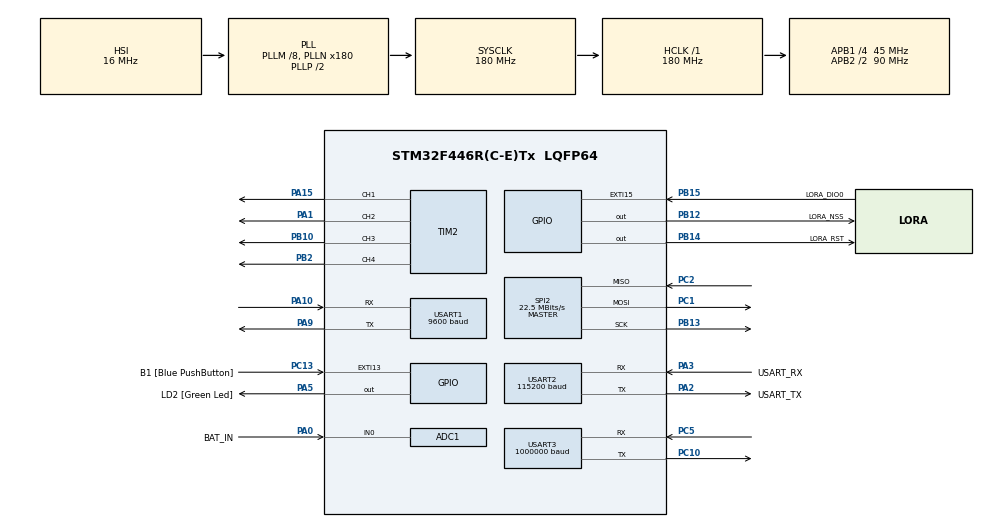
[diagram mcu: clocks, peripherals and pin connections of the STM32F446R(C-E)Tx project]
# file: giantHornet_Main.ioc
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ADC1.Channel-0\#ChannelRegularConversion=ADC_CHANNEL_0
ADC1.NbrOfConversionFlag=1
ADC1.Rank-0\#ChannelRegularConversion=1
ADC1.SamplingTime-0\#ChannelRegularConversion=ADC_SAMPLETIME_3CYCLES
ADC1.master=1
Mcu.Family=STM32F4
Mcu.Name=STM32F446R(C-E)Tx
Mcu.Package=LQFP64
NVIC.PriorityGroup=NVIC_PRIORITYGROUP_0
NVIC.USART1_IRQn=true\:0\:0\:false\:false\:true\:true\:true\:true
NVIC.USART2_IRQn=true\:0\:0\:false\:false\:true\:true\:true\:true
NVIC.USART3_IRQn=true\:0\:0\:false\:false\:true\:true\:true\:true
PA0-WKUP.GPIO_Label=BAT_IN
PA0-WKUP.Signal=ADCx_IN0
PA1.Signal=S_TIM2_CH2
PA10.Mode=Asynchronous
PA10.Signal=USART1_RX
PA13.GPIO_Label=TMS
PA13.Mode=Serial_Wire
PA13.Signal=SYS_JTMS-SWDIO
PA14.GPIO_Label=TCK
PA14.Mode=Serial_Wire
PA14.Signal=SYS_JTCK-SWCLK
PA15.Signal=S_TIM2_CH1_ETR
PA2.GPIO_Label=USART_TX
PA2.Mode=Asynchronous
PA2.Signal=USART2_TX
PA3.GPIO_Label=USART_RX
PA3.Mode=Asynchronous
PA3.Signal=USART2_RX
PA5.GPIO_Label=LD2 [Green Led]
PA5.Signal=GPIO_Output
PA9.Mode=Asynchronous
PA9.Signal=USART1_TX
PB10.Signal=S_TIM2_CH3
PB12.GPIO_Label=LORA_NSS
PB12.Signal=GPIO_Output
PB13.Mode=Full_Duplex_Master
PB13.Signal=SPI2_SCK
PB14.GPIO_Label=LORA_RST
PB14.Signal=GPIO_Output
PB15.GPIO_Label=LORA_DIO0
PB15.Signal=GPXTI15
PB2.Signal=S_TIM2_CH4
PB3.GPIO_Label=SWO
PB3.Signal=SYS_JTDO-SWO
PC1.Mode=Full_Duplex_Master
PC1.Signal=SPI2_MOSI
PC10.Mode=Asynchronous
PC10.Signal=USART3_TX
PC13.GPIO_Label=B1 [Blue PushButton]
PC13.GPIO_ModeDefaultEXTI=GPIO_MODE_IT_FALLING
PC13.Signal=GPXTI13
PC14-OSC32_IN.Mode=LSE-External-Oscillator
PC14-OSC32_IN.Signal=RCC_OSC32_IN
PC15-OSC32_OUT.Mode=LSE-External-Oscillator
PC15-OSC32_OUT.Signal=RCC_OSC32_OUT
PC2.Mode=Full_Duplex_Master
PC2.Signal=SPI2_MISO
PC5.Mode=Asynchronous
PC5.Signal=USART3_RX
PH0-OSC_IN.Mode=HSE-External-Oscillator
PH0-OSC_IN.Signal=RCC_OSC_IN
PH1-OSC_OUT.Mode=HSE-External-Oscillator
PH1-OSC_OUT.Signal=RCC_OSC_OUT
ProjectManager.HeapSize=0x200
ProjectManager.StackSize=0x400
ProjectManager.TargetToolchain=STM32CubeIDE
RCC.48MHZClocksFreq_Value=84000000
RCC.AHBFreq_Value=180000000
RCC.APB1CLKDivider=RCC_HCLK_DIV4
RCC.APB1Freq_Value=45000000
RCC.APB1TimFreq_Value=90000000
RCC.APB2CLKDivider=RCC_HCLK_DIV2
RCC.APB2Freq_Value=90000000
RCC.APB2TimFreq_Value=180000000
RCC.CortexFreq_Value=180000000
RCC.FLatency-AdvancedSettings=FLASH_LATENCY_5
RCC.HCLKFreq_Value=180000000
RCC.HSE_VALUE=8000000
RCC.HSI_VALUE=16000000
RCC.PLLM=8
RCC.PLLN=180
RCC.SYSCLKFreq_VALUE=180000000
RCC.SYSCLKSource=RCC_SYSCLKSOURCE_PLLCLK
RCC.USBFreq_Value=180000000
RCC.VCOOutputFreq_Value=360000000
SH.ADCx_IN0.0=ADC1_IN0,IN0
SH.S_TIM2_CH1_ETR.0=TIM2_CH1,PWM Generation1 CH1
SH.S_TIM2_CH2.0=TIM2_CH2,PWM Generation2 CH2
SH.S_TIM2_CH3.0=TIM2_CH3,PWM Generation3 CH3
SH.S_TIM2_CH4.0=TIM2_CH4,PWM Generation4 CH4
SPI2.CalculateBaudRate=22.5 MBits/s
SPI2.Direction=SPI_DIRECTION_2LINES
SPI2.Mode=SPI_MODE_MASTER
SPI2.VirtualType=VM_MASTER
TIM2.Channel-PWM\ Generation1\ CH1=TIM_CHANNEL_1
TIM2.Channel-PWM\ Generation2\ CH2=TIM_CHANNEL_2
TIM2.Channel-PWM\ Generation3\ CH3=TIM_CHANNEL_3
TIM2.Channel-PWM\ Generation4\ CH4=TIM_CHANNEL_4
USART1.BaudRate=9600
USART1.VirtualMode=VM_ASYNC
USART2.BaudRate=115200
USART2.VirtualMode=VM_ASYNC
USART3.BaudRate=1000000
USART3.VirtualMode=VM_ASYNC
board=NUCLEO-F446RE

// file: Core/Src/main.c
/* USER CODE BEGIN Header */
/**
  ******************************************************************************
  * @file           : main.c
  * @brief          : Main program body
  ******************************************************************************
  * @attention
  *
  * Copyright (c) 2025 STMicroelectronics.
  * All rights reserved.
  *
  * This software is licensed under terms that can be found in the LICENSE file
  * in the root directory of this software component.
  * If no LICENSE file comes with this software, it is provided AS-IS.
  *
  ******************************************************************************
  */
/* USER CODE END Header */
#include "main.h"
#include "adc.h"
#include "spi.h"
#include "tim.h"
#include "usart.h"
#include "gpio.h"

/* USER CODE BEGIN Includes */
#include "define.h"
#include "protocol.h"
#include "hardware_gps.h"
#include "function_bridge_main.h"
#include "function_controller.h"
#include "function_motor_control.h"
#include "usart.h"

/* USER CODE END Includes */

/* USER CODE BEGIN PD */
#define RX_BUFFER_SIZE  256
/* USER CODE END PD */

/* USER CODE BEGIN PV */
uint32_t led_time;
uint32_t gps_time;
uint32_t esc_time;

/* USER CODE END PV */

void SystemClock_Config(void);

/* USER CODE BEGIN 0 */
//* @brief  Retargets the C library printf function to the USART.
int _write(int fd, char *ptr, int len)
{
  HAL_UART_Transmit(&huart2, (const uint8_t *)ptr, len, 100);
  return len;
}

/* USER CODE END 0 */

int main(void)
{

  /* USER CODE BEGIN 1 */
  USER_StatusTypeDef ret;
  /* USER CODE END 1 */

  /* MCU Configuration--------------------------------------------------------*/

  /* Reset of all peripherals, Initializes the Flash interface and the Systick. */
  HAL_Init();

  /* Configure the system clock */
  SystemClock_Config();

  /* Initialize all configured peripherals */
  MX_GPIO_Init();
  MX_USART2_UART_Init();
  MX_ADC1_Init();
  MX_SPI2_Init();
  MX_TIM2_Init();
  MX_USART1_UART_Init();
  MX_USART3_UART_Init();
  /* USER CODE BEGIN 2 */
  GPS_Init(&huart1);
  ret = bridge_init();

  if(ret == USER_RET_OK) {
    printf("init seq ok!\n");
  } else {
    printf("init seq error! %d\n", ret);
    Error_Handler();
  }
  /* USER CODE END 2 */

  /* Infinite loop */
  /* USER CODE BEGIN WHILE */
  ESC_calibration();
  printf("Main - loop start\n");

  while (1)
  {
    /* USER CODE END WHILE */

    /* USER CODE BEGIN 3 */
    if((HAL_GetTick() - led_time) > 500) {
      led_time = HAL_GetTick();
      HAL_GPIO_TogglePin(LD2_GPIO_Port, LD2_Pin);
    }

    if((HAL_GetTick() - gps_time) > 100) {
      gps_time = HAL_GetTick();
      GPS_UART_Callback();
    }

    bridge_task();

    // ESC control (test)
    if((HAL_GetTick() - esc_time) > 10) {
      esc_time = HAL_GetTick();
      int8_t joy_y = (remote_data.joy_y < 0) ? 0 : remote_data.joy_y;
      uint16_t throttle = ((float)joy_y / 127) * THROTTLE_100;
      //printf("%d=%02X, %d\n", joy_y, joy_y, throttle);

      Throttle_set(1, throttle);
      Throttle_set(2, throttle);
      Throttle_set(3, throttle);
      Throttle_set(4, throttle);
    }
  }
  /* USER CODE END 3 */
}

void SystemClock_Config(void)
{
  RCC_OscInitTypeDef RCC_OscInitStruct = {0};
  RCC_ClkInitTypeDef RCC_ClkInitStruct = {0};

  /** Configure the main internal regulator output voltage
  */
  __HAL_RCC_PWR_CLK_ENABLE();
  __HAL_PWR_VOLTAGESCALING_CONFIG(PWR_REGULATOR_VOLTAGE_SCALE1);

  /** Initializes the RCC Oscillators according to the specified parameters
  * in the RCC_OscInitTypeDef structure.
  */
  RCC_OscInitStruct.OscillatorType = RCC_OSCILLATORTYPE_HSI;
  RCC_OscInitStruct.HSIState = RCC_HSI_ON;
  RCC_OscInitStruct.HSICalibrationValue = RCC_HSICALIBRATION_DEFAULT;
  RCC_OscInitStruct.PLL.PLLState = RCC_PLL_ON;
  RCC_OscInitStruct.PLL.PLLSource = RCC_PLLSOURCE_HSI;
  RCC_OscInitStruct.PLL.PLLM = 8;
  RCC_OscInitStruct.PLL.PLLN = 180;
  RCC_OscInitStruct.PLL.PLLP = RCC_PLLP_DIV2;
  RCC_OscInitStruct.PLL.PLLQ = 2;
  RCC_OscInitStruct.PLL.PLLR = 2;
  if (HAL_RCC_OscConfig(&RCC_OscInitStruct) != HAL_OK)
  {
    Error_Handler();
  }

  /** Activate the Over-Drive mode
  */
  if (HAL_PWREx_EnableOverDrive() != HAL_OK)
  {
    Error_Handler();
  }

  /** Initializes the CPU, AHB and APB buses clocks
  */
  RCC_ClkInitStruct.ClockType = RCC_CLOCKTYPE_HCLK|RCC_CLOCKTYPE_SYSCLK
                              |RCC_CLOCKTYPE_PCLK1|RCC_CLOCKTYPE_PCLK2;
  RCC_ClkInitStruct.SYSCLKSource = RCC_SYSCLKSOURCE_PLLCLK;
  RCC_ClkInitStruct.AHBCLKDivider = RCC_SYSCLK_DIV1;
  RCC_ClkInitStruct.APB1CLKDivider = RCC_HCLK_DIV4;
  RCC_ClkInitStruct.APB2CLKDivider = RCC_HCLK_DIV2;

  if (HAL_RCC_ClockConfig(&RCC_ClkInitStruct, FLASH_LATENCY_5) != HAL_OK)
  {
    Error_Handler();
  }
}

void Error_Handler(void)
{
  __disable_irq();
  while (1)
  {
  }
}
